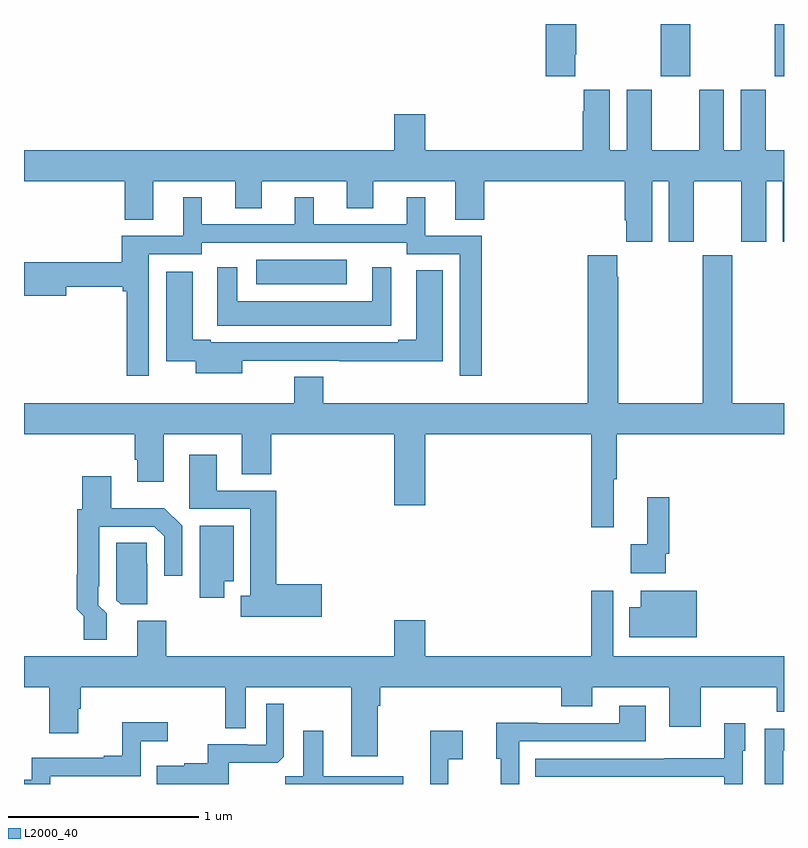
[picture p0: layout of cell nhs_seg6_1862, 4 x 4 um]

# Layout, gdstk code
import gdstk
lib = gdstk.Library(unit=1e-6, precision=1e-09)
def R(c, l, rs):  # rectangles x0, y0, x1, y1
    for r in rs: c.add(gdstk.rectangle(r[:2], r[2:], *l))
def P(c, l, *ps):  # polygons
    for p in ps: c.add(gdstk.Polygon(p, *l))
L2000_40 = (2000, 40)

nhs_seg6_1862 = lib.new_cell('nhs_seg6_1862')
R(nhs_seg6_1862, L2000_40, [(224.223,944.129,224.698,944.26), (226.351,945.225,226.506,945.5), (226.951,945.225,227,945.5)])
P(nhs_seg6_1862, L2000_40, [(225.901,945.337),(225.906,945.337),(225.906,945.5),(225.746,945.5),(225.746,945.225),(225.901,945.225)],
  [(226.306,944.672),(226.394,944.672),(226.394,944.355),(226.525,944.355),(226.525,944.672),(226.775,944.672),(226.775,944.355),(226.906,944.355),(226.906,944.672),(226.994,944.672),(226.994,944.355),(227,944.355),(227,944.836),(226.903,944.836),(226.903,945.154),(226.772,945.154),(226.772,944.836),(226.684,944.836),(226.684,945.154),(226.553,945.154),(226.553,944.836),(226.303,944.836),(226.303,945.154),(226.172,945.154),(226.172,944.836),(226.084,944.836),(226.084,945.154),(225.947,945.154),(225.947,945.041),(225.941,945.041),(225.941,944.836),(225.112,944.836),(225.112,945.025),(224.948,945.025),(224.948,944.836),(223,944.836),(223,944.672),(223.529,944.672),(223.529,944.47),(223.681,944.47),(223.681,944.672),(224.111,944.672),(224.111,944.53),(224.251,944.53),(224.251,944.672),(224.699,944.672),(224.699,944.53),(224.839,944.53),(224.839,944.672),(225.269,944.672),(225.269,944.47),(225.422,944.47),(225.422,944.672),(226.163,944.672),(226.163,944.467),(226.169,944.467),(226.169,944.355),(226.306,944.355)],
  [(223.656,944.289),(223.935,944.289),(223.935,944.349),(225.015,944.349),(225.015,944.289),(225.294,944.289),(225.294,943.65),(225.41,943.65),(225.41,944.385),(225.112,944.385),(225.112,944.587),(225.014,944.587),(225.014,944.445),(224.524,944.445),(224.524,944.587),(224.426,944.587),(224.426,944.445),(223.936,944.445),(223.936,944.587),(223.838,944.587),(223.838,944.385),(223.514,944.385),(223.514,944.245),(223,944.245),(223,944.069),(223.222,944.069),(223.222,944.116),(223.519,944.116),(223.519,944.093),(223.54,944.093),(223.54,943.65),(223.656,943.65)],
  [(226.103,943.104),(226.121,943.104),(226.121,943.34),(227,943.34),(227,943.504),(226.728,943.504),(226.728,944.284),(226.573,944.284),(226.573,943.504),(226.128,943.504),(226.128,944.171),(226.123,944.171),(226.123,944.284),(225.968,944.284),(225.968,943.504),(224.576,943.504),(224.576,943.643),(224.423,943.643),(224.423,943.504),(223,943.504),(223,943.34),(223.583,943.34),(223.583,943.207),(223.595,943.207),(223.595,943.092),(223.735,943.092),(223.735,943.34),(224.147,943.34),(224.147,943.129),(224.3,943.129),(224.3,943.34),(224.948,943.34),(224.948,942.966),(225.112,942.966),(225.112,943.34),(225.985,943.34),(225.985,942.852),(226.103,942.852)],
  [(224.932,944.221),(224.834,944.221),(224.834,944.041),(224.122,944.041),(224.122,944.221),(224.018,944.221),(224.018,943.913),(224.932,943.913)],
  [(224.149,943.728),(224.659,943.728),(224.659,943.726),(225.205,943.726),(225.205,944.203),(225.065,944.203),(225.065,943.837),(224.969,943.837),(224.969,943.824),(223.984,943.824),(223.984,943.837),(223.888,943.837),(223.888,944.197),(223.748,944.197),(223.748,943.726),(223.904,943.726),(223.904,943.661),(224.149,943.661)],
  [(224.566,942.551),(224.327,942.551),(224.327,943.044),(224.014,943.044),(224.014,943.234),(223.871,943.234),(223.871,942.948),(224.192,942.948),(224.192,942.49),(224.14,942.49),(224.14,942.38),(224.566,942.38)],
  [(223.435,942.398),(223.392,942.441),(223.392,942.541),(223.395,942.541),(223.395,942.855),(223.686,942.855),(223.737,942.804),(223.737,942.597),(223.833,942.597),(223.833,942.858),(223.739,942.952),(223.459,942.952),(223.459,943.12),(223.307,943.12),(223.307,942.945),(223.279,942.945),(223.279,942.602),(223.277,942.602),(223.277,942.421),(223.315,942.382),(223.315,942.258),(223.435,942.258)],
  [(226.377,942.712),(226.397,942.712),(226.397,943.009),(226.28,943.009),(226.28,942.761),(226.194,942.761),(226.194,942.608),(226.377,942.608)],
  [(224.055,942.566),(224.104,942.566),(224.104,942.859),(223.925,942.859),(223.925,942.479),(224.055,942.479)],
  [(223.648,942.659),(223.647,942.659),(223.647,942.77),(223.485,942.77),(223.485,942.468),(223.509,942.445),(223.648,942.445)],
  [(226.54,942.517),(226.247,942.517),(226.247,942.43),(226.186,942.43),(226.186,942.272),(226.54,942.272)],
  [(224.863,941.912),(224.876,941.912),(224.876,942.008),(225.827,942.008),(225.827,941.909),(225.991,941.909),(225.991,942.008),(226.397,942.008),(226.397,941.802),(226.561,941.802),(226.561,942.008),(226.961,942.008),(226.961,941.88),(227,941.88),(227,942.172),(226.101,942.172),(226.101,942.517),(225.985,942.517),(225.985,942.172),(225.112,942.172),(225.112,942.361),(224.948,942.361),(224.948,942.172),(223.748,942.172),(223.748,942.36),(223.595,942.36),(223.595,942.172),(223,942.172),(223,942.008),(223.133,942.008),(223.133,941.766),(223.285,941.766),(223.285,941.895),(223.298,941.895),(223.298,942.008),(224.058,942.008),(224.058,941.794),(224.166,941.794),(224.166,942.008),(224.723,942.008),(224.723,941.646),(224.863,941.646)],
  [(224.077,941.612),(224.335,941.612),(224.367,941.643),(224.367,941.923),(224.274,941.923),(224.274,941.706),(224.174,941.706),(224.174,941.709),(223.967,941.709),(223.967,941.608),(223.843,941.608),(223.843,941.596),(223.699,941.596),(223.699,941.5),(224.077,941.5)],
  [(225.606,941.724),(226.273,941.724),(226.273,941.911),(226.133,941.911),(226.133,941.82),(225.703,941.82),(225.703,941.822),(225.485,941.822),(225.485,941.634),(225.51,941.634),(225.51,941.5),(225.606,941.5)],
  [(223.137,941.541),(223.614,941.541),(223.614,941.726),(223.756,941.726),(223.756,941.825),(223.516,941.825),(223.516,941.65),(223.421,941.65),(223.421,941.637),(223.041,941.637),(223.041,941.523),(223,941.523),(223,941.5),(223.137,941.5)],
  [(226.782,941.676),(226.795,941.676),(226.795,941.821),(226.686,941.821),(226.686,941.635),(226.369,941.635),(226.369,941.634),(225.691,941.634),(225.691,941.538),(226.686,941.538),(226.686,941.5),(226.782,941.5)],
  [(226.997,941.674),(227,941.674),(227,941.79),(226.899,941.79),(226.899,941.5),(226.997,941.5)],
  [(224.995,941.542),(224.575,941.542),(224.575,941.779),(224.471,941.779),(224.471,941.54),(224.376,941.54),(224.376,941.5),(224.995,941.5)],
  [(225.234,941.63),(225.31,941.63),(225.31,941.779),(225.137,941.779),(225.137,941.5),(225.234,941.5)])

lib.write_gds('nhs_seg6_1862.gds')
